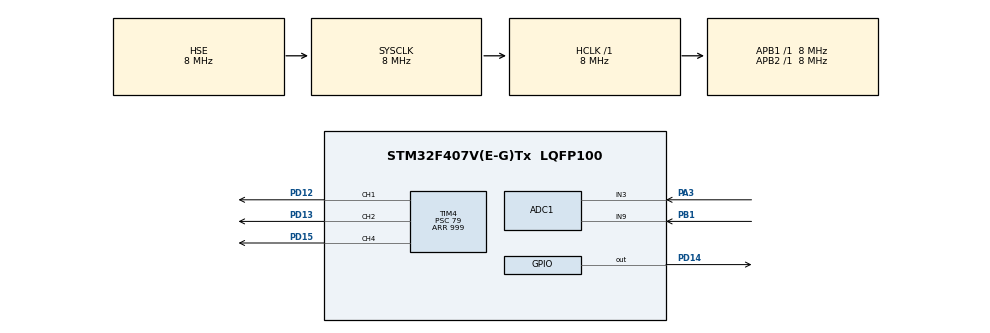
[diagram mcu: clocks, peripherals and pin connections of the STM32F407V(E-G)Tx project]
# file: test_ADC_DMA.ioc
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ADC1.Channel-0\#ChannelRegularConversion=ADC_CHANNEL_3
ADC1.Channel-1\#ChannelRegularConversion=ADC_CHANNEL_9
ADC1.Channel-2\#ChannelRegularConversion=ADC_CHANNEL_TEMPSENSOR
ADC1.ContinuousConvMode=ENABLE
ADC1.DMAContinuousRequests=ENABLE
ADC1.EOCSelection=ADC_EOC_SINGLE_CONV
ADC1.NbrOfConversion=3
ADC1.NbrOfConversionFlag=1
ADC1.Rank-0\#ChannelRegularConversion=1
ADC1.Rank-1\#ChannelRegularConversion=2
ADC1.Rank-2\#ChannelRegularConversion=3
ADC1.SamplingTime-0\#ChannelRegularConversion=ADC_SAMPLETIME_480CYCLES
ADC1.SamplingTime-1\#ChannelRegularConversion=ADC_SAMPLETIME_480CYCLES
ADC1.SamplingTime-2\#ChannelRegularConversion=ADC_SAMPLETIME_480CYCLES
ADC1.ScanConvMode=ENABLE
ADC1.master=1
Dma.ADC1.0.Direction=DMA_PERIPH_TO_MEMORY
Dma.ADC1.0.FIFOMode=DMA_FIFOMODE_DISABLE
Dma.ADC1.0.Instance=DMA2_Stream0
Dma.ADC1.0.MemDataAlignment=DMA_MDATAALIGN_HALFWORD
Dma.ADC1.0.MemInc=DMA_MINC_ENABLE
Dma.ADC1.0.Mode=DMA_CIRCULAR
Dma.ADC1.0.PeriphDataAlignment=DMA_PDATAALIGN_HALFWORD
Dma.ADC1.0.PeriphInc=DMA_PINC_DISABLE
Dma.ADC1.0.Priority=DMA_PRIORITY_MEDIUM
Dma.Request0=ADC1
Mcu.Family=STM32F4
Mcu.Name=STM32F407V(E-G)Tx
Mcu.Package=LQFP100
NVIC.DMA2_Stream0_IRQn=true\:0\:0\:false\:false\:true\:false\:true
NVIC.PriorityGroup=NVIC_PRIORITYGROUP_4
NVIC.TIM4_IRQn=true\:0\:0\:false\:false\:true\:true\:true
PA3.Signal=ADCx_IN3
PB1.Signal=ADCx_IN9
PD12.Signal=S_TIM4_CH1
PD13.Signal=S_TIM4_CH2
PD14.Signal=GPIO_Output
PD15.Signal=S_TIM4_CH4
PH0-OSC_IN.Mode=HSE-External-Oscillator
PH0-OSC_IN.Signal=RCC_OSC_IN
PH1-OSC_OUT.Mode=HSE-External-Oscillator
PH1-OSC_OUT.Signal=RCC_OSC_OUT
ProjectManager.HeapSize=0x200
ProjectManager.StackSize=0x400
ProjectManager.TargetToolchain=STM32CubeIDE
RCC.48MHZClocksFreq_Value=24000000
RCC.AHBFreq_Value=8000000
RCC.APB1Freq_Value=8000000
RCC.APB1TimFreq_Value=8000000
RCC.APB2Freq_Value=8000000
RCC.APB2TimFreq_Value=8000000
RCC.CortexFreq_Value=8000000
RCC.HCLKFreq_Value=8000000
RCC.HSE_VALUE=8000000
RCC.HSI_VALUE=16000000
RCC.LSE_VALUE=32768
RCC.PLLSourceVirtual=RCC_PLLSOURCE_HSE
RCC.SYSCLKFreq_VALUE=8000000
RCC.SYSCLKSource=RCC_SYSCLKSOURCE_HSE
RCC.VCOOutputFreq_Value=96000000
SH.ADCx_IN3.0=ADC1_IN3,IN3
SH.ADCx_IN9.0=ADC1_IN9,IN9
SH.S_TIM4_CH1.0=TIM4_CH1,PWM Generation1 CH1
SH.S_TIM4_CH2.0=TIM4_CH2,PWM Generation2 CH2
SH.S_TIM4_CH4.0=TIM4_CH4,PWM Generation4 CH4
TIM4.Channel-Output\ Compare3\ No\ Output=TIM_CHANNEL_3
TIM4.Channel-PWM\ Generation1\ CH1=TIM_CHANNEL_1
TIM4.Channel-PWM\ Generation2\ CH2=TIM_CHANNEL_2
TIM4.Channel-PWM\ Generation4\ CH4=TIM_CHANNEL_4
TIM4.Period=999
TIM4.Prescaler=79
TIM4.Pulse-Output\ Compare3\ No\ Output=999
VP_ADC1_TempSens_Input.Mode=IN-TempSens
VP_TIM4_VS_no_output3.Mode=Output Compare3 No Output
board=custom

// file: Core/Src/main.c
/* USER CODE BEGIN Header */
/**
  ******************************************************************************
  * @file           : main.c
  * @brief          : Main program body
  ******************************************************************************
  * @attention
  *
  * <h2><center>&copy; Copyright (c) 2021 STMicroelectronics.
  * All rights reserved.</center></h2>
  *
  * This software component is licensed by ST under BSD 3-Clause license,
  * the "License"; You may not use this file except in compliance with the
  * License. You may obtain a copy of the License at:
  *                        opensource.org/licenses/BSD-3-Clause
  *
  ******************************************************************************
  */
/* USER CODE END Header */
#include "main.h"

/* USER CODE BEGIN PD */
#define VREF 3	//reference voltage
#define MAX_ADC_VALUE 4095
#define MAX_DC 2	//max voltage value on ADC channel
#define MAX_TEMPO 32	//max temperature on chip and external device
#define MAX_EXT_TEMPO 100
#define MIN_TEMPO 25	//for calculate duty cycle on LED_PWM
#define STEP_VOLT_TEMP 50	// 1volt -- 50 degrees
#define V25 0.76
#define Avg 0.0025
/* USER CODE END PD */

ADC_HandleTypeDef hadc1;
DMA_HandleTypeDef hdma_adc1;
TIM_HandleTypeDef htim4;

/* USER CODE BEGIN PV */
uint16_t buffer[] = {0, 0, 0};
_Bool errors[] = {0, 0, 0};
_Bool end_adc = 0;
uint16_t trigger = 1;	// I use just TIM4, and 3 channel have PWM on 100Hz, but 4-channel is Red-LED and this variable check when timer overflow 100, 250 or 500 times for 1, 2.5 or 5 Hz
uint8_t red_led_mode = 10;	// 1Hz -- 10, 2.5Hz -- 25, 5HZ -- 50
/* USER CODE END PV */

void SystemClock_Config(void);
static void MX_GPIO_Init(void);
static void MX_DMA_Init(void);
static void MX_ADC1_Init(void);
static void MX_TIM4_Init(void);

/* USER CODE BEGIN 0 */
float ADC2Voltage(uint16_t adc_value)
{
	return (float)adc_value * VREF / MAX_ADC_VALUE;
}

void check_EXT_temperature(void)
{
	float temperature = 0;
	temperature = MAX_EXT_TEMPO - (ADC2Voltage(buffer[1]) * (float)STEP_VOLT_TEMP);
	if (MAX_TEMPO < temperature)
		errors[1] = 1;
	else
		errors[1] = 0;
	TIM4->CCR1 = (temperature - MIN_TEMPO) * (TIM4->ARR + 1) / (MAX_TEMPO - MIN_TEMPO);	// calculate duty cycle
}

void check_INT_temperature(void)
{
	float temperature = 0;
	temperature = ((ADC2Voltage(buffer[2]) - V25)/Avg + 25);
	if (MAX_TEMPO < temperature)
		errors[2] = 1;
	else
		errors[2] = 0;
	TIM4->CCR2 = (temperature - MIN_TEMPO) * (TIM4->ARR + 1) / (MAX_TEMPO - MIN_TEMPO);
}

void check_DC(void)
{
	if (MAX_DC < ADC2Voltage(buffer[0]))
		errors[0] = 1;
	else
		errors[0] = 0;
	TIM4->CCR4 = buffer[0] * (TIM4->ARR + 1) / MAX_ADC_VALUE;	// calculate duty cycle

}
/* USER CODE END 0 */

int main(void)
{

  /* MCU Configuration--------------------------------------------------------*/

  /* Reset of all peripherals, Initializes the Flash interface and the Systick. */
  HAL_Init();

  /* Configure the system clock */
  SystemClock_Config();

  /* Initialize all configured peripherals */
  MX_GPIO_Init();
  MX_DMA_Init();
  MX_ADC1_Init();
  MX_TIM4_Init();
  /* USER CODE BEGIN 2 */
  HAL_TIM_Base_Start_IT(&htim4);
  HAL_TIM_PWM_Start(&htim4, TIM_CHANNEL_1);
  HAL_TIM_PWM_Start(&htim4, TIM_CHANNEL_2);
  HAL_TIM_PWM_Start(&htim4, TIM_CHANNEL_4);
  HAL_ADC_Start_DMA(&hadc1, (uint32_t*)&buffer, 3);
  /* USER CODE END 2 */

  /* Infinite loop */
  /* USER CODE BEGIN WHILE */
  while (1)
  {
	  if (end_adc)
	  {
		  check_EXT_temperature();
		  check_INT_temperature();
		  check_DC();
		  uint8_t sum_err = errors[0] + errors[1] + errors[2];
		  switch(sum_err)
		  {
			  case 1:
				red_led_mode = 50;
				break;
			  case 2:
				red_led_mode = 20;
				break;
			  case 3:
				red_led_mode = 10;
				break;
			  default:
				red_led_mode = 0;
				break;
		  }
	  }
	  end_adc = 0;
    /* USER CODE END WHILE */

  }
}

void SystemClock_Config(void)
{
  RCC_OscInitTypeDef RCC_OscInitStruct = {0};
  RCC_ClkInitTypeDef RCC_ClkInitStruct = {0};

  /** Configure the main internal regulator output voltage
  */
  __HAL_RCC_PWR_CLK_ENABLE();
  __HAL_PWR_VOLTAGESCALING_CONFIG(PWR_REGULATOR_VOLTAGE_SCALE1);
  /** Initializes the RCC Oscillators according to the specified parameters
  * in the RCC_OscInitTypeDef structure.
  */
  RCC_OscInitStruct.OscillatorType = RCC_OSCILLATORTYPE_HSE;
  RCC_OscInitStruct.HSEState = RCC_HSE_ON;
  RCC_OscInitStruct.PLL.PLLState = RCC_PLL_NONE;
  if (HAL_RCC_OscConfig(&RCC_OscInitStruct) != HAL_OK)
  {
    Error_Handler();
  }
  /** Initializes the CPU, AHB and APB buses clocks
  */
  RCC_ClkInitStruct.ClockType = RCC_CLOCKTYPE_HCLK|RCC_CLOCKTYPE_SYSCLK
                              |RCC_CLOCKTYPE_PCLK1|RCC_CLOCKTYPE_PCLK2;
  RCC_ClkInitStruct.SYSCLKSource = RCC_SYSCLKSOURCE_HSE;
  RCC_ClkInitStruct.AHBCLKDivider = RCC_SYSCLK_DIV1;
  RCC_ClkInitStruct.APB1CLKDivider = RCC_HCLK_DIV1;
  RCC_ClkInitStruct.APB2CLKDivider = RCC_HCLK_DIV1;

  if (HAL_RCC_ClockConfig(&RCC_ClkInitStruct, FLASH_LATENCY_0) != HAL_OK)
  {
    Error_Handler();
  }
}

static void MX_ADC1_Init(void)
{

  ADC_ChannelConfTypeDef sConfig = {0};

  /** Configure the global features of the ADC (Clock, Resolution, Data Alignment and number of conversion)
  */
  hadc1.Instance = ADC1;
  hadc1.Init.ClockPrescaler = ADC_CLOCK_SYNC_PCLK_DIV2;
  hadc1.Init.Resolution = ADC_RESOLUTION_12B;
  hadc1.Init.ScanConvMode = ENABLE;
  hadc1.Init.ContinuousConvMode = ENABLE;
  hadc1.Init.DiscontinuousConvMode = DISABLE;
  hadc1.Init.ExternalTrigConvEdge = ADC_EXTERNALTRIGCONVEDGE_NONE;
  hadc1.Init.ExternalTrigConv = ADC_SOFTWARE_START;
  hadc1.Init.DataAlign = ADC_DATAALIGN_RIGHT;
  hadc1.Init.NbrOfConversion = 3;
  hadc1.Init.DMAContinuousRequests = ENABLE;
  hadc1.Init.EOCSelection = ADC_EOC_SINGLE_CONV;
  if (HAL_ADC_Init(&hadc1) != HAL_OK)
  {
    Error_Handler();
  }
  /** Configure for the selected ADC regular channel its corresponding rank in the sequencer and its sample time.
  */
  sConfig.Channel = ADC_CHANNEL_3;
  sConfig.Rank = 1;
  sConfig.SamplingTime = ADC_SAMPLETIME_480CYCLES;
  if (HAL_ADC_ConfigChannel(&hadc1, &sConfig) != HAL_OK)
  {
    Error_Handler();
  }
  /** Configure for the selected ADC regular channel its corresponding rank in the sequencer and its sample time.
  */
  sConfig.Channel = ADC_CHANNEL_9;
  sConfig.Rank = 2;
  if (HAL_ADC_ConfigChannel(&hadc1, &sConfig) != HAL_OK)
  {
    Error_Handler();
  }
  /** Configure for the selected ADC regular channel its corresponding rank in the sequencer and its sample time.
  */
  sConfig.Channel = ADC_CHANNEL_TEMPSENSOR;
  sConfig.Rank = 3;
  if (HAL_ADC_ConfigChannel(&hadc1, &sConfig) != HAL_OK)
  {
    Error_Handler();
  }

}

static void MX_TIM4_Init(void)
{

  TIM_MasterConfigTypeDef sMasterConfig = {0};
  TIM_OC_InitTypeDef sConfigOC = {0};

  htim4.Instance = TIM4;
  htim4.Init.Prescaler = 79;
  htim4.Init.CounterMode = TIM_COUNTERMODE_UP;
  htim4.Init.Period = 999;
  htim4.Init.ClockDivision = TIM_CLOCKDIVISION_DIV1;
  htim4.Init.AutoReloadPreload = TIM_AUTORELOAD_PRELOAD_DISABLE;
  if (HAL_TIM_PWM_Init(&htim4) != HAL_OK)
  {
    Error_Handler();
  }
  if (HAL_TIM_OC_Init(&htim4) != HAL_OK)
  {
    Error_Handler();
  }
  sMasterConfig.MasterOutputTrigger = TIM_TRGO_RESET;
  sMasterConfig.MasterSlaveMode = TIM_MASTERSLAVEMODE_DISABLE;
  if (HAL_TIMEx_MasterConfigSynchronization(&htim4, &sMasterConfig) != HAL_OK)
  {
    Error_Handler();
  }
  sConfigOC.OCMode = TIM_OCMODE_PWM1;
  sConfigOC.Pulse = 0;
  sConfigOC.OCPolarity = TIM_OCPOLARITY_HIGH;
  sConfigOC.OCFastMode = TIM_OCFAST_DISABLE;
  if (HAL_TIM_PWM_ConfigChannel(&htim4, &sConfigOC, TIM_CHANNEL_1) != HAL_OK)
  {
    Error_Handler();
  }
  if (HAL_TIM_PWM_ConfigChannel(&htim4, &sConfigOC, TIM_CHANNEL_2) != HAL_OK)
  {
    Error_Handler();
  }
  sConfigOC.OCMode = TIM_OCMODE_TIMING;
  sConfigOC.Pulse = 999;
  if (HAL_TIM_OC_ConfigChannel(&htim4, &sConfigOC, TIM_CHANNEL_3) != HAL_OK)
  {
    Error_Handler();
  }
  sConfigOC.OCMode = TIM_OCMODE_PWM1;
  sConfigOC.Pulse = 0;
  if (HAL_TIM_PWM_ConfigChannel(&htim4, &sConfigOC, TIM_CHANNEL_4) != HAL_OK)
  {
    Error_Handler();
  }
  HAL_TIM_MspPostInit(&htim4);

}

static void MX_DMA_Init(void)
{

  /* DMA controller clock enable */
  __HAL_RCC_DMA2_CLK_ENABLE();

  /* DMA interrupt init */
  /* DMA2_Stream0_IRQn interrupt configuration */
  HAL_NVIC_SetPriority(DMA2_Stream0_IRQn, 0, 0);
  HAL_NVIC_EnableIRQ(DMA2_Stream0_IRQn);

}

static void MX_GPIO_Init(void)
{
  GPIO_InitTypeDef GPIO_InitStruct = {0};

  /* GPIO Ports Clock Enable */
  __HAL_RCC_GPIOH_CLK_ENABLE();
  __HAL_RCC_GPIOA_CLK_ENABLE();
  __HAL_RCC_GPIOB_CLK_ENABLE();
  __HAL_RCC_GPIOD_CLK_ENABLE();

  /*Configure GPIO pin Output Level */
  HAL_GPIO_WritePin(GPIOD, GPIO_PIN_14, GPIO_PIN_RESET);

  /*Configure GPIO pin : PD14 */
  GPIO_InitStruct.Pin = GPIO_PIN_14;
  GPIO_InitStruct.Mode = GPIO_MODE_OUTPUT_PP;
  GPIO_InitStruct.Pull = GPIO_NOPULL;
  GPIO_InitStruct.Speed = GPIO_SPEED_FREQ_LOW;
  HAL_GPIO_Init(GPIOD, &GPIO_InitStruct);

}

/* USER CODE BEGIN 4 */
void HAL_ADC_ConvCpltCallback(ADC_HandleTypeDef* hadc)
{
	end_adc = 1;
}
void HAL_TIM_PeriodElapsedCallback(TIM_HandleTypeDef* htim)
{
	if (red_led_mode == 0)
		HAL_GPIO_WritePin(GPIOD, GPIO_PIN_14, RESET);
	else
	{
		if (trigger == red_led_mode)
		{
			HAL_GPIO_TogglePin(GPIOD, GPIO_PIN_14);
			trigger = 1;
		}
		else
			trigger = trigger < red_led_mode ? ++trigger : 1;
	}
}
/* USER CODE END 4 */

void Error_Handler(void)
{
  __disable_irq();
  while (1)
  {
  }
}

/************************ (C) COPYRIGHT STMicroelectronics *****END OF FILE****/
